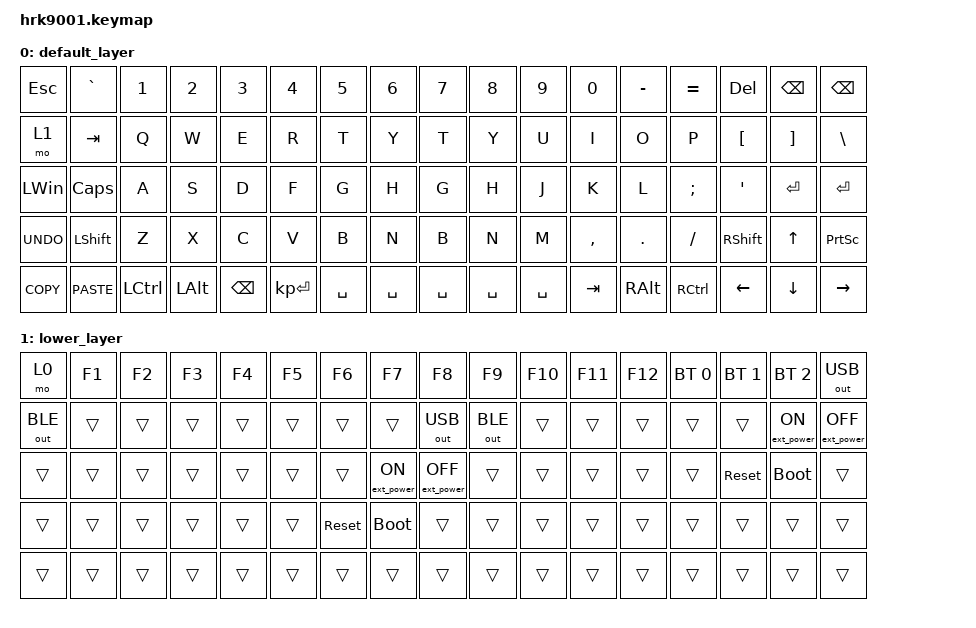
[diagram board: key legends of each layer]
/*
 * Copyright (c) 2020 The ZMK Contributors
 *
 * SPDX-License-Identifier: MIT
 */

#include <behaviors.dtsi>
#include <dt-bindings/zmk/bt.h>
#include <dt-bindings/zmk/ext_power.h>
#include <dt-bindings/zmk/keys.h>
#include <dt-bindings/zmk/outputs.h>
#include <dt-bindings/zmk/rgb.h>

#define DEFAULT 0
#define LOWER   1

/ {
    keymap {
        compatible = "zmk,keymap";

        default_layer {
            // | Esc   | Vol Up | Esc   | F1   | F2  | F3  | F4  | F5  | F6    | F5     | F6  | F7  | F8  | F9  | F10  | F11   | F12   | Del    |
            // | Home  | Vol Dn | `     | 1    | 2   | 3   | 4   | 5   | 6     | 5      | 6   | 7   | 8   | 9   | 0    | -     | =     | Bk Spc |
            // | End   | Tab    | Tab   | Q    | W   | E   | R   | T   | Y     | T      | Y   | U   | I   | O   | P    | [     | ]     | \      |
            // | Pg Up | Caps   | Ctrl  | A    | S   | D   | F   | G   | H     | G      | H   | J   | K   | L   | ;    | '     | Enter | Enter  |
            // | Pg Dn | Up     | Shift | Z    | X   | C   | V   | B   | N     | B      | N   | M   | ,   | .   | /    | Shift | Up    |        |

            bindings = <
&kp ESC     &kp GRAVE    &kp N1            &kp N2    &kp N3         &kp N4        &kp N5     &kp N6     &kp N7     &kp N8     &kp N9     &kp N0     &kp MINUS      &kp EQUAL  &kp DELETE  &kp BACKSPACE  &kp BSPC
&mo 1       &kp TAB      &kp Q             &kp W     &kp E          &kp R         &kp T      &kp Y      &kp T      &kp Y      &kp U      &kp I      &kp O          &kp P      &kp LBKT    &kp RBKT       &kp BSLH
&kp LWIN    &kp CAPS     &kp A             &kp S     &kp D          &kp F         &kp G      &kp H      &kp G      &kp H      &kp J      &kp K      &kp L          &kp SEMI   &kp APOS    &kp ENTER      &kp ENTER
&kp K_UNDO  &kp LSHFT    &kp Z             &kp X     &kp C          &kp V         &kp B      &kp N      &kp B      &kp N      &kp M      &kp COMMA  &kp DOT        &kp SLASH  &kp RSHFT   &kp UP         &kp PRINTSCREEN
&kp K_COPY  &kp K_PASTE  &kp LEFT_CONTROL  &kp LALT  &kp BACKSPACE  &kp KP_ENTER  &kp SPACE  &kp SPACE  &kp SPACE  &kp SPACE  &kp SPACE  &kp TAB    &kp RIGHT_ALT  &kp RCTRL  &kp LEFT    &kp DOWN       &kp RIGHT
            >;
        };

        lower_layer {
            // | | | | | | | | | | | | | | | | | | |
            // | | | | | | | | | | | | | | | | | | |
            // | | | | | | | | | | | | | | | | | | |
            // | | | | | | | | | | | | | | | | | | |
            // | | | | | | | | | | | | | | | | | | |
            // | | | | | | | | | | | | | | | | | | |

            bindings = <
&mo 0         &kp F1  &kp F2  &kp F3  &kp F4  &kp F5  &kp F6      &kp F7            &kp F8             &kp F9        &kp F10  &kp F11  &kp F12  &bt BT_SEL 0  &bt BT_SEL 1  &bt BT_SEL 2      &out OUT_USB
&out OUT_BLE  &trans  &trans  &trans  &trans  &trans  &trans      &trans            &out OUT_USB       &out OUT_BLE  &trans   &trans   &trans   &trans        &trans        &ext_power EP_ON  &ext_power EP_OFF
&trans        &trans  &trans  &trans  &trans  &trans  &trans      &ext_power EP_ON  &ext_power EP_OFF  &trans        &trans   &trans   &trans   &trans        &sys_reset    &bootloader       &trans
&trans        &trans  &trans  &trans  &trans  &trans  &sys_reset  &bootloader       &trans             &trans        &trans   &trans   &trans   &trans        &trans        &trans            &trans
&trans        &trans  &trans  &trans  &trans  &trans  &trans      &trans            &trans             &trans        &trans   &trans   &trans   &trans        &trans        &trans            &trans
            >;
        };
    };
};
